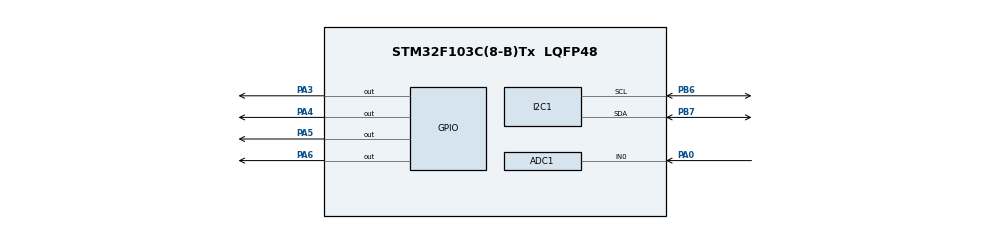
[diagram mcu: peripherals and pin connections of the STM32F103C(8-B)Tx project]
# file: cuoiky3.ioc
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ADC1.Channel-3\#ChannelRegularConversion=ADC_CHANNEL_0
ADC1.NbrOfConversionFlag=1
ADC1.Rank-3\#ChannelRegularConversion=1
ADC1.SamplingTime-3\#ChannelRegularConversion=ADC_SAMPLETIME_1CYCLE_5
ADC1.master=1
Mcu.Family=STM32F1
Mcu.Name=STM32F103C(8-B)Tx
Mcu.Package=LQFP48
NVIC.PriorityGroup=NVIC_PRIORITYGROUP_4
PA0-WKUP.Signal=ADCx_IN0
PA13.Mode=Serial_Wire
PA13.Signal=SYS_JTMS-SWDIO
PA14.Mode=Serial_Wire
PA14.Signal=SYS_JTCK-SWCLK
PA3.Signal=GPIO_Output
PA4.Signal=GPIO_Output
PA5.Signal=GPIO_Output
PA6.Signal=GPIO_Output
PB6.Mode=I2C
PB6.Signal=I2C1_SCL
PB7.Mode=I2C
PB7.Signal=I2C1_SDA
PC13-TAMPER-RTC.Signal=EVENTOUT
ProjectManager.HeapSize=0x200
ProjectManager.StackSize=0x400
ProjectManager.TargetToolchain=STM32CubeIDE
RCC.APB1Freq_Value=8000000
RCC.APB2Freq_Value=8000000
SH.ADCx_IN0.0=ADC1_IN0,IN0
board=custom

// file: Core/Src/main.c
/* USER CODE BEGIN Header */
/**
  ******************************************************************************
  * @file           : main.c
  * @brief          : Main program body
  ******************************************************************************
  * @attention
  *
  * Copyright (c) 2024 STMicroelectronics.
  * All rights reserved.
  *
  * This software is licensed under terms that can be found in the LICENSE file
  * in the root directory of this software component.
  * If no LICENSE file comes with this software, it is provided AS-IS.
  *
  ******************************************************************************
  */
/* USER CODE END Header */
#include "main.h"
#include "liquidcrystal_i2c.h"
#include "stdlib.h"

ADC_HandleTypeDef hadc1;

I2C_HandleTypeDef hi2c1;

void SystemClock_Config(void);
static void MX_GPIO_Init(void);
static void MX_ADC1_Init(void);
static void MX_I2C1_Init(void);

int main(void)
{

  /* MCU Configuration--------------------------------------------------------*/

  /* Reset of all peripherals, Initializes the Flash interface and the Systick. */
  HAL_Init();

  /* Configure the system clock */
  SystemClock_Config();

  /* Initialize all configured peripherals */
  MX_GPIO_Init();
  MX_ADC1_Init();
  MX_I2C1_Init();
  /* USER CODE BEGIN 2 */
  HAL_GPIO_WritePin(GPIOA,GPIO_PIN_3,1);
  /* USER CODE END 2 */
  int value;
  char snum[5];
  int canhbao=400;
  /* Infinite loop */
  /* USER CODE BEGIN WHILE */
  while (1)
  {
	  HAL_ADC_Start(&hadc1);
	   value= HAL_ADC_GetValue(&hadc1);
	   itoa(value,snum , 10);
		       HD44780_Init(2);
		       HD44780_Clear();
		       HD44780_SetCursor(0,0);
		       HD44780_PrintStr("sensor value ");
		       HD44780_SetCursor(0,1);
		       HD44780_PrintStr(snum);
		  		if(value <= canhbao)
		  		 {
		  		 HAL_GPIO_WritePin(GPIOA,GPIO_PIN_3,1);
		  		 HAL_GPIO_WritePin(GPIOA,GPIO_PIN_5,0);
		  		HAL_GPIO_WritePin(GPIOA,GPIO_PIN_4,0);
		  		HAL_GPIO_WritePin(GPIOA,GPIO_PIN_6,0);
		  		 }
		  		 else
		  		 {
		  			HAL_GPIO_WritePin(GPIOA,GPIO_PIN_3,0);
		  			HAL_GPIO_WritePin(GPIOA,GPIO_PIN_4,1);
		  		 HAL_GPIO_WritePin(GPIOA,GPIO_PIN_5,1);
		  		 HAL_GPIO_WritePin(GPIOA,GPIO_PIN_6,1);
		  		 }
	        HAL_Delay(2000);
    /* USER CODE END WHILE */

  }
}

void SystemClock_Config(void)
{
  RCC_OscInitTypeDef RCC_OscInitStruct = {0};
  RCC_ClkInitTypeDef RCC_ClkInitStruct = {0};
  RCC_PeriphCLKInitTypeDef PeriphClkInit = {0};

  /** Initializes the RCC Oscillators according to the specified parameters
  * in the RCC_OscInitTypeDef structure.
  */
  RCC_OscInitStruct.OscillatorType = RCC_OSCILLATORTYPE_HSI;
  RCC_OscInitStruct.HSIState = RCC_HSI_ON;
  RCC_OscInitStruct.HSICalibrationValue = RCC_HSICALIBRATION_DEFAULT;
  RCC_OscInitStruct.PLL.PLLState = RCC_PLL_NONE;
  if (HAL_RCC_OscConfig(&RCC_OscInitStruct) != HAL_OK)
  {
    Error_Handler();
  }

  /** Initializes the CPU, AHB and APB buses clocks
  */
  RCC_ClkInitStruct.ClockType = RCC_CLOCKTYPE_HCLK|RCC_CLOCKTYPE_SYSCLK
                              |RCC_CLOCKTYPE_PCLK1|RCC_CLOCKTYPE_PCLK2;
  RCC_ClkInitStruct.SYSCLKSource = RCC_SYSCLKSOURCE_HSI;
  RCC_ClkInitStruct.AHBCLKDivider = RCC_SYSCLK_DIV1;
  RCC_ClkInitStruct.APB1CLKDivider = RCC_HCLK_DIV1;
  RCC_ClkInitStruct.APB2CLKDivider = RCC_HCLK_DIV1;

  if (HAL_RCC_ClockConfig(&RCC_ClkInitStruct, FLASH_LATENCY_0) != HAL_OK)
  {
    Error_Handler();
  }
  PeriphClkInit.PeriphClockSelection = RCC_PERIPHCLK_ADC;
  PeriphClkInit.AdcClockSelection = RCC_ADCPCLK2_DIV2;
  if (HAL_RCCEx_PeriphCLKConfig(&PeriphClkInit) != HAL_OK)
  {
    Error_Handler();
  }
}

static void MX_ADC1_Init(void)
{

  ADC_ChannelConfTypeDef sConfig = {0};

  /** Common config
  */
  hadc1.Instance = ADC1;
  hadc1.Init.ScanConvMode = ADC_SCAN_DISABLE;
  hadc1.Init.ContinuousConvMode = DISABLE;
  hadc1.Init.DiscontinuousConvMode = DISABLE;
  hadc1.Init.ExternalTrigConv = ADC_SOFTWARE_START;
  hadc1.Init.DataAlign = ADC_DATAALIGN_RIGHT;
  hadc1.Init.NbrOfConversion = 1;
  if (HAL_ADC_Init(&hadc1) != HAL_OK)
  {
    Error_Handler();
  }

  /** Configure Regular Channel
  */
  sConfig.Channel = ADC_CHANNEL_0;
  sConfig.Rank = ADC_REGULAR_RANK_1;
  sConfig.SamplingTime = ADC_SAMPLETIME_1CYCLE_5;
  if (HAL_ADC_ConfigChannel(&hadc1, &sConfig) != HAL_OK)
  {
    Error_Handler();
  }

}

static void MX_I2C1_Init(void)
{

  hi2c1.Instance = I2C1;
  hi2c1.Init.ClockSpeed = 100000;
  hi2c1.Init.DutyCycle = I2C_DUTYCYCLE_2;
  hi2c1.Init.OwnAddress1 = 0;
  hi2c1.Init.AddressingMode = I2C_ADDRESSINGMODE_7BIT;
  hi2c1.Init.DualAddressMode = I2C_DUALADDRESS_DISABLE;
  hi2c1.Init.OwnAddress2 = 0;
  hi2c1.Init.GeneralCallMode = I2C_GENERALCALL_DISABLE;
  hi2c1.Init.NoStretchMode = I2C_NOSTRETCH_DISABLE;
  if (HAL_I2C_Init(&hi2c1) != HAL_OK)
  {
    Error_Handler();
  }

}

static void MX_GPIO_Init(void)
{
  GPIO_InitTypeDef GPIO_InitStruct = {0};

  /* GPIO Ports Clock Enable */
  __HAL_RCC_GPIOC_CLK_ENABLE();
  __HAL_RCC_GPIOA_CLK_ENABLE();
  __HAL_RCC_GPIOB_CLK_ENABLE();

  /*Configure GPIO pin Output Level */
  HAL_GPIO_WritePin(GPIOC, GPIO_PIN_13, GPIO_PIN_RESET);

  /*Configure GPIO pin Output Level */
  HAL_GPIO_WritePin(GPIOA, GPIO_PIN_3|GPIO_PIN_4|GPIO_PIN_5|GPIO_PIN_6, GPIO_PIN_RESET);

  /*Configure GPIO pin : PC13 */
  GPIO_InitStruct.Pin = GPIO_PIN_13;
  GPIO_InitStruct.Mode = GPIO_MODE_OUTPUT_PP;
  GPIO_InitStruct.Pull = GPIO_NOPULL;
  GPIO_InitStruct.Speed = GPIO_SPEED_FREQ_LOW;
  HAL_GPIO_Init(GPIOC, &GPIO_InitStruct);

  /*Configure GPIO pins : PA3 PA4 PA5 PA6 */
  GPIO_InitStruct.Pin = GPIO_PIN_3|GPIO_PIN_4|GPIO_PIN_5|GPIO_PIN_6;
  GPIO_InitStruct.Mode = GPIO_MODE_OUTPUT_PP;
  GPIO_InitStruct.Pull = GPIO_NOPULL;
  GPIO_InitStruct.Speed = GPIO_SPEED_FREQ_LOW;
  HAL_GPIO_Init(GPIOA, &GPIO_InitStruct);

}

void Error_Handler(void)
{
  __disable_irq();
  while (1)
  {
  }
}
